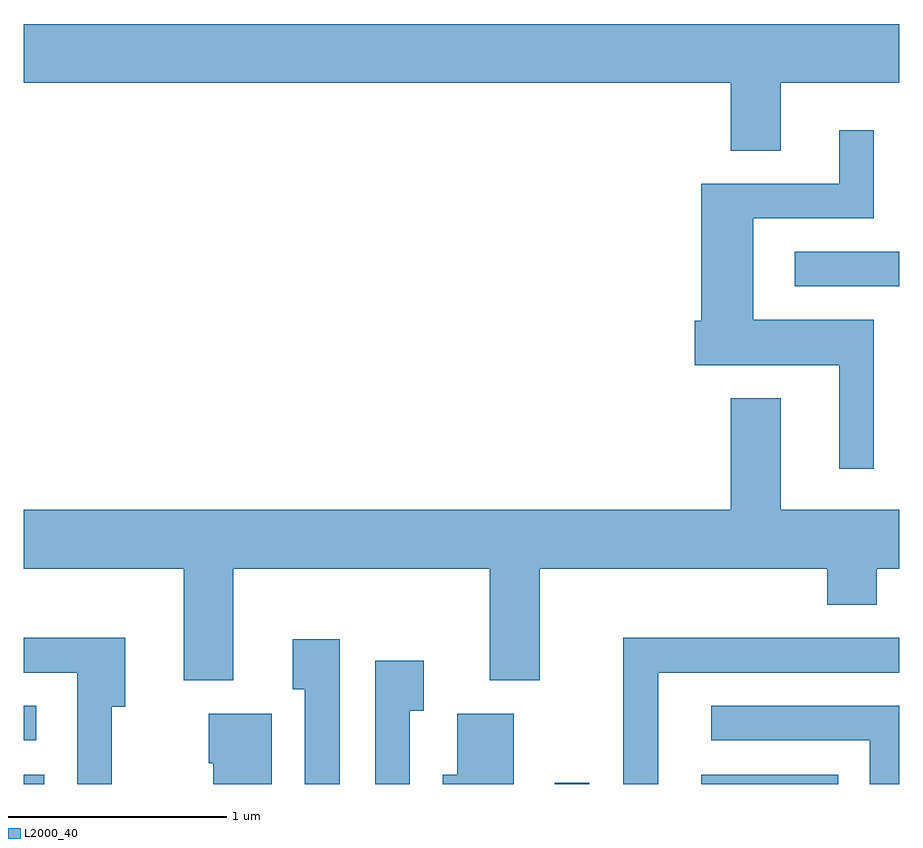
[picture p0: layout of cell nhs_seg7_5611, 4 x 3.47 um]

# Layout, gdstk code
import gdstk
lib = gdstk.Library(unit=1e-6, precision=1e-09)
def R(c, l, rs):  # rectangles x0, y0, x1, y1
    for r in rs: c.add(gdstk.rectangle(r[:2], r[2:], *l))
def P(c, l, *ps):  # polygons
    for p in ps: c.add(gdstk.Polygon(p, *l))
L2000_40 = (2000, 40)

nhs_seg7_5611 = lib.new_cell('nhs_seg7_5611')
R(nhs_seg7_5611, L2000_40, [(357.611,1682.252,357.704,1682.294), (360.036,1682.252,360.194,1682.258), (360.706,1682.252,361.333,1682.294), (357.611,1682.451,357.668,1682.609), (361.133,1684.526,361.611,1684.684)])
P(nhs_seg7_5611, L2000_40, [(361.069,1685.456),(361.611,1685.456),(361.611,1685.724),(357.611,1685.724),(357.611,1685.456),(360.841,1685.456),(360.841,1685.146),(361.069,1685.146)],
  [(361.494,1684.374),(360.944,1684.374),(360.944,1684.836),(361.494,1684.836),(361.494,1685.238),(361.336,1685.238),(361.336,1684.994),(360.706,1684.994),(360.706,1684.369),(360.676,1684.369),(360.676,1684.166),(361.336,1684.166),(361.336,1683.693),(361.494,1683.693)],
  [(358.569,1683.236),(359.741,1683.236),(359.741,1682.726),(359.969,1682.726),(359.969,1683.236),(361.281,1683.236),(361.281,1683.071),(361.509,1683.071),(361.509,1683.236),(361.611,1683.236),(361.611,1683.504),(361.069,1683.504),(361.069,1684.014),(360.841,1684.014),(360.841,1683.504),(357.611,1683.504),(357.611,1683.236),(358.341,1683.236),(358.341,1682.726),(358.569,1682.726)],
  [(360.509,1682.761),(361.611,1682.761),(361.611,1682.919),(360.351,1682.919),(360.351,1682.252),(360.509,1682.252)],
  [(358.014,1682.606),(358.074,1682.606),(358.074,1682.919),(357.611,1682.919),(357.611,1682.761),(357.856,1682.761),(357.856,1682.252),(358.014,1682.252)],
  [(359.054,1682.914),(358.841,1682.914),(358.841,1682.686),(358.896,1682.686),(358.896,1682.252),(359.054,1682.252)],
  [(359.374,1682.586),(359.439,1682.586),(359.439,1682.814),(359.216,1682.814),(359.216,1682.252),(359.374,1682.252)],
  [(361.611,1682.609),(360.753,1682.609),(360.753,1682.451),(361.476,1682.451),(361.476,1682.252),(361.611,1682.252)],
  [(359.849,1682.574),(359.591,1682.574),(359.591,1682.294),(359.526,1682.294),(359.526,1682.252),(359.849,1682.252)],
  [(358.744,1682.574),(358.456,1682.574),(358.456,1682.346),(358.476,1682.346),(358.476,1682.252),(358.744,1682.252)])

lib.write_gds('nhs_seg7_5611.gds')
